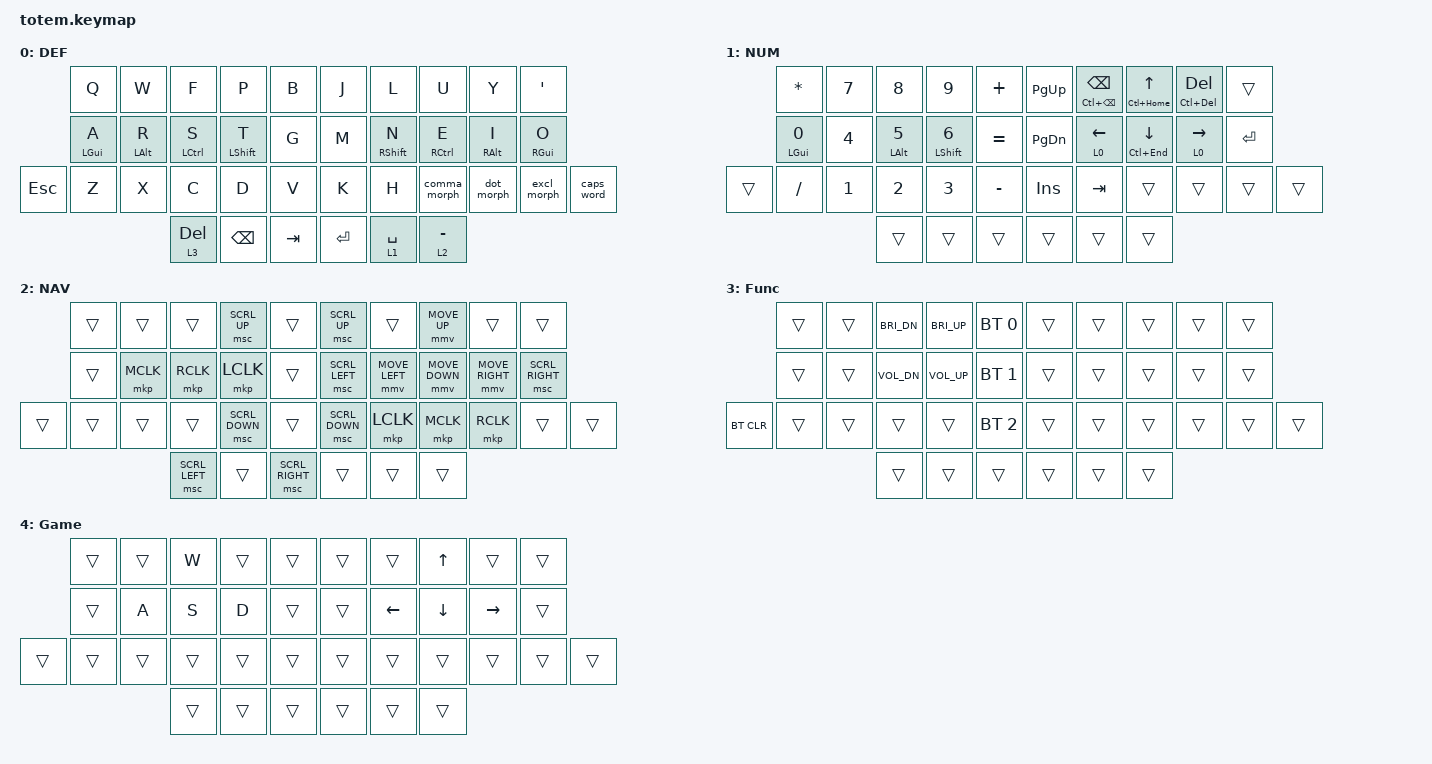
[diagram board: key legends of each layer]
#include <behaviors.dtsi>
#include <behaviors/unicode.dtsi>
#include "zmk-helpers/helper.h"
#include <dt-bindings/zmk/keys.h>
#include <dt-bindings/zmk/bt.h>
#include <dt-bindings/zmk/pointing.h>
#include "zmk-helpers/key-labels/totem.h"   


// Source unicode-chars for desired languages
#include "zmk-helpers/greek.dtsi"



#define DEF       0
#define NUM       1
#define NAV       2
#define Func      3
#define Game      4


/*                     KEY POSITIONS
      ╭─────────────────────╮ ╭─────────────────────╮
  ╭───╯ LT4 LT3 LT2 LT1 LT0 │ │ RT0 RT1 RT2 RT3 RT4 ╰───╮
  │ LM5 LM4 LM3 LM2 LM1 LM0 │ │ RM0 RM1 RM2 RM3 RM4 RM5 │
  ╰───╮ LB4 LB3 LB2 LB1 LB0 │ │ RB0 RB1 RB2 RB3 RB4 ╭───╯
      ╰───────╮ LH2 LH1 LH0 │ │ RH0 RH1 RH2 ╭───────╯
              ╰─────────────╯ ╰─────────────╯ */

#define KEYS_L LT0 LT1 LT2 LT3 LT4 LM0 LM1 LM2 LM3 LM4 LB0 LB1 LB2 LB3 LB4  // Left-hand keys.
#define KEYS_R RT0 RT1 RT2 RT3 RT4 RM0 RM1 RM2 RM3 RM4 RB0 RB1 RB2 RB3 RB4  // Right-hand keys.
#define THUMBS LH2 LH1 LH0 RH0 RH1 RH2                                      // Thumb keys.



#define QUICK_TAP_MS 175

&lt {
  flavor = "balanced";
  tapping-term-ms = <200>;
  quick-tap-ms = <QUICK_TAP_MS>;
};


/* Home row mod settings */
#define HM_TAPPING_TERM 300         // The amount of time that the key has to be held to trigger the moddifier 
#define HM_TAPPING_TERM_FAST 200
#define HM_PRIOR_IDLE 150


/* Left-hand HRMs. */
ZMK_HOLD_TAP(hml,
    flavor = "balanced";
    tapping-term-ms = <HM_TAPPING_TERM>;
    quick-tap-ms = <175>;
    require-prior-idle-ms = <HM_PRIOR_IDLE>;
    bindings = <&kp>, <&kp>;
    hold-trigger-key-positions = <KEYS_R THUMBS>;
    hold-trigger-on-release;
)

/* Right-hand HRMs. */
ZMK_HOLD_TAP(hmr,
    flavor = "balanced";
    tapping-term-ms = <HM_TAPPING_TERM>; 
    quick-tap-ms = <175>;
    require-prior-idle-ms = <HM_PRIOR_IDLE>;
    bindings = <&kp>, <&kp>;
    hold-trigger-key-positions = <KEYS_L THUMBS>;
    hold-trigger-on-release;
)


/* Home row mods for shift */
// Uses faster tapping term and disables some features that may cause false negatives.
ZMK_HOLD_TAP(hm_shft_l,
    flavor = "balanced";
    tapping-term-ms = <HM_TAPPING_TERM_FAST>; 
    quick-tap-ms = <175>;
    require-prior-idle-ms = <HM_PRIOR_IDLE>;
    bindings = <&kp>, <&kp>;
    hold-trigger-key-positions = <KEYS_R THUMBS>;
)

ZMK_HOLD_TAP(hm_shft_r,
    flavor = "balanced";
    tapping-term-ms = <HM_TAPPING_TERM_FAST>; 
    quick-tap-ms = <175>;
    require-prior-idle-ms = <HM_PRIOR_IDLE>;
    bindings = <&kp>, <&kp>;
    hold-trigger-key-positions = <KEYS_L THUMBS>;
)



/* Caps Word Settings */
&caps_word {
    // Allow caps word to continue even when minus or underscore
    // are pressed.
    // Also prevent mod presses from cancelling caps word.
    continue-list = <
      UNDERSCORE MINUS
      LCTRL LALT LGUI LSHFT
      RCTRL RALT RGUI RSHFT
      BACKSPACE
    >;
};

// Define mod-morph with a *single* mod trigger for less repetition.
#define SIMPLE_MORPH(NAME, MOD, BINDING1, BINDING2)                            \
  ZMK_MOD_MORPH(NAME, mods = <(MOD_L##MOD | MOD_R##MOD)>;                      \
                bindings = <BINDING1>, <BINDING2>;)


// Tap: comma | Shift + tap: semicolon.
SIMPLE_MORPH(comma_morph, SFT, &kp COMMA, &kp SEMI)

// Tap: dot | Shift + tap: colon.
SIMPLE_MORPH(dot_morph, SFT, &kp DOT, &kp COLON)

// Tap: qmark | Shift + tap: excl.
SIMPLE_MORPH(excl_morph, SFT, &kp EXCL, &kp QMARK)

// Tap: left/right parenthesis | Shft + tap: less-than/greater-than.
SIMPLE_MORPH(lpar_lt, SFT, &kp LPAR, &kp LT)
SIMPLE_MORPH(rpar_gt, SFT, &kp RPAR, &kp GT)

// Tap: left/right curly-bracket | Shft + tap: left/right square-bracket.
SIMPLE_MORPH(lbrc_lbkt, SFT, &kp LBRC, &kp LBKT)
SIMPLE_MORPH(rbrc_rbkt, SFT, &kp RBRC, &kp RBKT)

// Sticky shift + leader. (for typing special characters in upper case)
ZMK_MACRO(leader_sft, bindings = <&sk LSHFT &leader>;) 


// Trigger tap-action on all interrupts.
#define MT_CORE                                                                \
  flavor = "tap-preferred";                                                    \
  tapping-term-ms = <220>;                                                     \
  quick-tap-ms = <220>;                                                        \
  hold-trigger-key-positions = <0>;

&mt { MT_CORE };

ZMK_HOLD_TAP(mt_home, bindings = <&masked_home>, <&kp>; MT_CORE)
ZMK_HOLD_TAP(mt_end, bindings = <&masked_end>, <&kp>; MT_CORE)

#define NAV_LEFT  &mt_home 0   LEFT  // Tap: left  | Long-tap: start of line.
#define NAV_RIGHT &mt_end 0    RIGHT // Tap: right | Long-tap: end   of line.
#define NAV_UP    &mt LC(HOME) UP    // Tap: up    | Long-tap: start of doc.
#define NAV_DOWN  &mt LC(END)  DOWN  // Tap: down  | Long-tap: end   of doc.
#define NAV_BSPC  &mt LC(BSPC) BSPC  // Tap: bspc  | Long-tap: delete word bwd.
#define NAV_DEL   &mt LC(DEL)  DEL   // Tap: del   | Long-tap: delete word fwd.

// Mask CTRL on left/right hold to avoid accidental jumps to start/end of doc.
#define MASK_MODS(NAME, MODS, BINDING)                                         \
  ZMK_MOD_MORPH(NAME, bindings = <BINDING>, <BINDING>; mods = <MODS>;)

MASK_MODS(masked_home, (MOD_LCTL), &kp HOME)
MASK_MODS(masked_end,  (MOD_LCTL), &kp END)




// Some things are moved into other files to reduce clutter
#include "combos.dtsi"
#include "leader.dtsi"
// #include "mouse.dtsi"



/ {
    keymap {
        compatible = "zmk,keymap";

        DEF {
            bindings = <
         &kp Q       &kp W       &kp F         &kp P               &kp B      &kp J    &kp L               &kp U         &kp Y       &kp SQT
         &hml LGUI A &hml LALT R &hml LCTRL S  &hm_shft_l LSHFT T  &kp G      &kp M    &hm_shft_r RSHFT N  &hmr RCTRL E  &hmr RALT I  &hmr RGUI O
&kp ESC  &kp Z       &kp X       &kp C         &kp D               &kp V      &kp K    &kp H               &comma_morph  &dot_morph  &excl_morph   &caps_word
                                 &lt 3 DEL     &kp BACKSPACE       &kp TAB    &kp RET  &lt 1 SPACE         &lt 2 MINUS
            >;
        };

        NUM {
            bindings = <
        &kp STAR      &kp N7  &kp N8        &kp N9         &kp PLUS     &kp PG_UP  NAV_BSPC    NAV_UP    NAV_DEL    &trans
        &hml LGUI N0  &kp N4  &hml LALT N5  &hml LSHFT N6  &kp EQUAL    &kp PG_DN  NAV_LEFT    NAV_DOWN  NAV_RIGHT  &kp RET
&trans  &kp FSLH      &kp N1  &kp N2        &kp N3         &kp MINUS    &kp INS    &kp TAB     &trans    &trans     &trans  &trans
                              &trans        &trans         &trans       &trans     &trans      &trans
            >;
        };

        NAV {
            bindings = <
        &trans  &trans     &trans          &msc SCRL_UP    &trans             &msc SCRL_UP    &trans          &mmv MOVE_UP    &trans           &trans
        &trans  &mkp MCLK  &mkp RCLK       &mkp LCLK       &trans             &msc SCRL_LEFT  &mmv MOVE_LEFT  &mmv MOVE_DOWN  &mmv MOVE_RIGHT  &msc SCRL_RIGHT
&trans  &trans  &trans     &trans          &msc SCRL_DOWN  &trans             &msc SCRL_DOWN  &mkp LCLK       &mkp MCLK       &mkp RCLK        &trans  &trans
                           &msc SCRL_LEFT  &trans          &msc SCRL_RIGHT    &trans          &trans          &trans
            >;
        };

        Func {
            bindings = <
            &trans  &trans  &kp C_BRI_DN  &kp C_BRI_UP  &bt BT_SEL 0    &trans  &trans  &trans  &trans  &trans
            &trans  &trans  &kp C_VOL_DN  &kp C_VOL_UP  &bt BT_SEL 1    &trans  &trans  &trans  &trans  &trans
&bt BT_CLR  &trans  &trans  &trans        &trans        &bt BT_SEL 2    &trans  &trans  &trans  &trans  &trans  &trans
                            &trans        &trans        &trans          &trans  &trans  &trans
            >;
        };

        Game {
            bindings = <
        &trans  &trans  &kp W   &trans  &trans    &trans  &trans    &kp UP    &trans     &trans
        &trans  &kp A   &kp S   &kp D   &trans    &trans  &kp LEFT  &kp DOWN  &kp RIGHT  &trans
&trans  &trans  &trans  &trans  &trans  &trans    &trans  &trans    &trans    &trans     &trans  &trans
                        &trans  &trans  &trans    &trans  &trans    &trans
            >;
        };
    };
};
